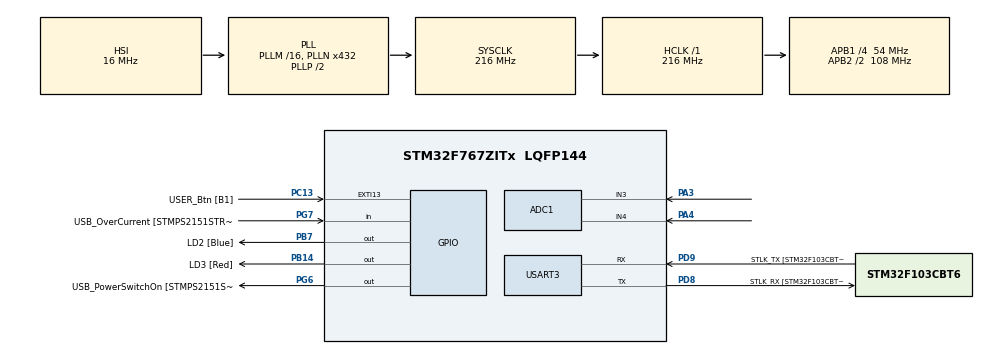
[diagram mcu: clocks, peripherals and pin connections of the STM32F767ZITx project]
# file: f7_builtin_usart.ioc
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ADC1.Channel-0\#ChannelRegularConversion=ADC_CHANNEL_3
ADC1.Channel-1\#ChannelRegularConversion=ADC_CHANNEL_4
ADC1.ClockPrescaler=ADC_CLOCK_SYNC_PCLK_DIV8
ADC1.ContinuousConvMode=ENABLE
ADC1.DMAContinuousRequests=ENABLE
ADC1.NbrOfConversion=2
ADC1.NbrOfConversionFlag=1
ADC1.Rank-0\#ChannelRegularConversion=1
ADC1.Rank-1\#ChannelRegularConversion=2
ADC1.SamplingTime-0\#ChannelRegularConversion=ADC_SAMPLETIME_480CYCLES
ADC1.SamplingTime-1\#ChannelRegularConversion=ADC_SAMPLETIME_480CYCLES
ADC1.ScanConvMode=ENABLE
ADC1.master=1
Dma.ADC1.0.Direction=DMA_PERIPH_TO_MEMORY
Dma.ADC1.0.FIFOMode=DMA_FIFOMODE_DISABLE
Dma.ADC1.0.Instance=DMA2_Stream0
Dma.ADC1.0.MemDataAlignment=DMA_MDATAALIGN_HALFWORD
Dma.ADC1.0.MemInc=DMA_MINC_ENABLE
Dma.ADC1.0.Mode=DMA_CIRCULAR
Dma.ADC1.0.PeriphDataAlignment=DMA_PDATAALIGN_HALFWORD
Dma.ADC1.0.PeriphInc=DMA_PINC_DISABLE
Dma.ADC1.0.Priority=DMA_PRIORITY_LOW
Dma.Request0=ADC1
Mcu.Family=STM32F7
Mcu.Name=STM32F767ZITx
Mcu.Package=LQFP144
NVIC.DMA2_Stream0_IRQn=true\:0\:0\:false\:false\:true\:false
NVIC.PriorityGroup=NVIC_PRIORITYGROUP_4
NVIC.USART3_IRQn=true\:0\:0\:false\:false\:true\:true
PA1.GPIO_Label=RMII_REF_CLK [LAN8742A-CZ-TR_REFCLK0]
PA1.Signal=ETH_REF_CLK
PA10.GPIO_Label=USB_ID
PA10.Signal=USB_OTG_FS_ID
PA11.GPIO_Label=USB_DM
PA11.Signal=USB_OTG_FS_DM
PA12.GPIO_Label=USB_DP
PA12.Signal=USB_OTG_FS_DP
PA13.GPIO_Label=TMS
PA13.Signal=SYS_JTMS-SWDIO
PA14.GPIO_Label=TCK
PA14.Signal=SYS_JTCK-SWCLK
PA2.GPIO_Label=RMII_MDIO [LAN8742A-CZ-TR_MDIO]
PA2.Signal=ETH_MDIO
PA3.Signal=ADCx_IN3
PA4.Signal=ADCx_IN4
PA7.GPIO_Label=RMII_CRS_DV [LAN8742A-CZ-TR_CRS_DV]
PA7.Signal=ETH_CRS_DV
PA8.GPIO_Label=USB_SOF [TP1]
PA8.Signal=USB_OTG_FS_SOF
PA9.GPIO_Label=USB_VBUS
PA9.Signal=USB_OTG_FS_VBUS
PB13.GPIO_Label=RMII_TXD1 [LAN8742A-CZ-TR_TXD1]
PB13.Signal=ETH_TXD1
PB14.GPIO_Label=LD3 [Red]
PB14.Signal=GPIO_Output
PB3.GPIO_Label=SW0
PB3.Signal=SYS_JTDO-SWO
PB7.GPIO_Label=LD2 [Blue]
PB7.Signal=GPIO_Output
PC1.GPIO_Label=RMII_MDC [LAN8742A-CZ-TR_MDC]
PC1.Signal=ETH_MDC
PC13.GPIO_Label=USER_Btn [B1]
PC13.Signal=GPXTI13
PC14/OSC32_IN.Signal=RCC_OSC32_IN
PC15/OSC32_OUT.Signal=RCC_OSC32_OUT
PC4.GPIO_Label=RMII_RXD0 [LAN8742A-CZ-TR_RXD0]
PC4.Signal=ETH_RXD0
PC5.GPIO_Label=RMII_RXD1 [LAN8742A-CZ-TR_RXD1]
PC5.Signal=ETH_RXD1
PD8.GPIO_Label=STLK_RX [STM32F103CBT6_PA3]
PD8.Mode=Asynchronous
PD8.Signal=USART3_TX
PD9.GPIO_Label=STLK_TX [STM32F103CBT6_PA2]
PD9.Mode=Asynchronous
PD9.Signal=USART3_RX
PG11.GPIO_Label=RMII_TX_EN [LAN8742A-CZ-TR_TXEN]
PG11.Signal=ETH_TX_EN
PG13.GPIO_Label=RMII_TXD0 [LAN8742A-CZ-TR_TXD0]
PG13.Signal=ETH_TXD0
PG6.GPIO_Label=USB_PowerSwitchOn [STMPS2151STR_EN]
PG6.Signal=GPIO_Output
PG7.GPIO_Label=USB_OverCurrent [STMPS2151STR_FAULT]
PG7.Signal=GPIO_Input
PH0/OSC_IN.GPIO_Label=MCO [STM32F103CBT6_PA8]
PH0/OSC_IN.Signal=RCC_OSC_IN
PH1/OSC_OUT.Signal=RCC_OSC_OUT
ProjectManager.HeapSize=0x200
ProjectManager.StackSize=0x400
ProjectManager.TargetToolchain=SW4STM32
RCC.48MHZClocksFreq_Value=24000000
RCC.AHBFreq_Value=216000000
RCC.APB1CLKDivider=RCC_HCLK_DIV4
RCC.APB1Freq_Value=54000000
RCC.APB1TimFreq_Value=108000000
RCC.APB2CLKDivider=RCC_HCLK_DIV2
RCC.APB2Freq_Value=108000000
RCC.APB2TimFreq_Value=216000000
RCC.CortexFreq_Value=216000000
RCC.HCLKFreq_Value=216000000
RCC.HSE_VALUE=16000000
RCC.HSI_VALUE=16000000
RCC.LSE_VALUE=32768
RCC.PLLMUL=RCC_PLL_MUL9
RCC.PLLN=432
RCC.PRESCALERUSB=RCC_USBCLKSOURCE_PLL_DIV1_5
RCC.SYSCLKFreq_VALUE=216000000
RCC.SYSCLKSource=RCC_SYSCLKSOURCE_PLLCLK
RCC.SYSCLKSourceVirtual=RCC_SYSCLKSOURCE_PLLCLK
RCC.USBFreq_Value=216000000
RCC.VCOOutputFreq_Value=432000000
SH.ADCx_IN3.0=ADC1_IN3,IN3
SH.ADCx_IN4.0=ADC1_IN4,IN4
USART3.VirtualMode-Asynchronous=VM_ASYNC
USART3.WordLength=WORDLENGTH_8B
board=NUCLEO-F767ZI

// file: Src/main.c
/**
  ******************************************************************************
  * File Name          : main.c
  * Description        : Main program body
  ******************************************************************************
  ** This notice applies to any and all portions of this file
  * that are not between comment pairs USER CODE BEGIN and
  * USER CODE END. Other portions of this file, whether
  * inserted by the user or by software development tools
  * are owned by their respective copyright owners.
  *
  * COPYRIGHT(c) 2017 STMicroelectronics
  *
  * Redistribution and use in source and binary forms, with or without modification,
  * are permitted provided that the following conditions are met:
  *   1. Redistributions of source code must retain the above copyright notice,
  *      this list of conditions and the following disclaimer.
  *   2. Redistributions in binary form must reproduce the above copyright notice,
  *      this list of conditions and the following disclaimer in the documentation
  *      and/or other materials provided with the distribution.
  *   3. Neither the name of STMicroelectronics nor the names of its contributors
  *      may be used to endorse or promote products derived from this software
  *      without specific prior written permission.
  *
  * THIS SOFTWARE IS PROVIDED BY THE COPYRIGHT HOLDERS AND CONTRIBUTORS "AS IS"
  * AND ANY EXPRESS OR IMPLIED WARRANTIES, INCLUDING, BUT NOT LIMITED TO, THE
  * IMPLIED WARRANTIES OF MERCHANTABILITY AND FITNESS FOR A PARTICULAR PURPOSE ARE
  * DISCLAIMED. IN NO EVENT SHALL THE COPYRIGHT HOLDER OR CONTRIBUTORS BE LIABLE
  * FOR ANY DIRECT, INDIRECT, INCIDENTAL, SPECIAL, EXEMPLARY, OR CONSEQUENTIAL
  * DAMAGES (INCLUDING, BUT NOT LIMITED TO, PROCUREMENT OF SUBSTITUTE GOODS OR
  * SERVICES; LOSS OF USE, DATA, OR PROFITS; OR BUSINESS INTERRUPTION) HOWEVER
  * CAUSED AND ON ANY THEORY OF LIABILITY, WHETHER IN CONTRACT, STRICT LIABILITY,
  * OR TORT (INCLUDING NEGLIGENCE OR OTHERWISE) ARISING IN ANY WAY OUT OF THE USE
  * OF THIS SOFTWARE, EVEN IF ADVISED OF THE POSSIBILITY OF SUCH DAMAGE.
  *
  ******************************************************************************
  */

#include "main.h"
#include "stm32f7xx_hal.h"

/* USER CODE BEGIN Includes */
#include "crc.h"
/* USER CODE END Includes */

ADC_HandleTypeDef hadc1;
DMA_HandleTypeDef hdma_adc1;

UART_HandleTypeDef huart3;

/* USER CODE BEGIN PV */
/* Private variables ---------------------------------------------------------*/
uint8_t RX_cmd[10], TX_cmd[10], temp = 1;
uint16_t adc_data[2];
/* USER CODE END PV */

void SystemClock_Config(void);
static void MX_GPIO_Init(void);
static void MX_DMA_Init(void);
static void MX_USART3_UART_Init(void);
static void MX_ADC1_Init(void);

/* USER CODE BEGIN PFP */
/* Private function prototypes -----------------------------------------------*/
void HAL_UART_RxCpltCallback(UART_HandleTypeDef *huart) {
	uint16_t crc = 0, read_crc = 0;
	if (huart == &huart3) {
		switch (temp) {

//		switch (RX_cmd[0]) {
		case 1: //DebugSteeringSystem
			TX_cmd[0] = 1;
			TX_cmd[1] = (uint8_t) (adc_data[0] >> 8);
			TX_cmd[2] = (uint8_t) (adc_data[0]);
			TX_cmd[3] = (uint8_t) (adc_data[1] >> 8);
			TX_cmd[4] = (uint8_t) (adc_data[1]);
			crc = crcFast(TX_cmd, 5);
			TX_cmd[5] = (uint8_t) (crc >> 8);
			TX_cmd[6] = (uint8_t) (crc);
			HAL_UART_Transmit_IT(&huart3, TX_cmd, 7);
			break;
		case 2: //DebugSpeed
			TX_cmd[0] = 2;
			TX_cmd[1] = (uint8_t) (adc_data[0] >> 8);
			TX_cmd[2] = (uint8_t) (adc_data[0]);
			TX_cmd[3] = (uint8_t) (adc_data[1] >> 8);
			TX_cmd[4] = (uint8_t) (adc_data[1]);
			crc = crcFast(TX_cmd, 5);
			TX_cmd[5] = (uint8_t) (crc >> 8);
			TX_cmd[6] = (uint8_t) (crc);
			HAL_UART_Transmit_IT(&huart3, TX_cmd, 7);
			break;
		case 3: //DebugEncodersBrakesIndicators
			TX_cmd[0] = 3;
			TX_cmd[1] = (uint8_t) (adc_data[0] >> 8);
			TX_cmd[2] = (uint8_t) (adc_data[0]);
			TX_cmd[3] = (uint8_t) (adc_data[1] >> 8);
			TX_cmd[4] = (uint8_t) (adc_data[1]);
			TX_cmd[5] = (uint8_t) (adc_data[0] & 0b00000011);
			crc = crcFast(TX_cmd, 6);
			TX_cmd[6] = (uint8_t) (crc >> 8);
			TX_cmd[7] = (uint8_t) (crc);
			HAL_UART_Transmit_IT(&huart3, TX_cmd, 8);
			break;
		case 4:
			// receive control from ROS
			// CRC check, if data not valid reject
			read_crc = (RX_cmd[8] << 8) + RX_cmd[9];
			if (crcFast(RX_cmd, 9) == read_crc) {
				HAL_GPIO_WritePin(LD2_GPIO_Port, LD2_Pin, GPIO_PIN_SET);
//				steering_wheel = RX_cmd[1] + (RX_cmd[2] << 8);
//				speed = RX_cmd[3] + (RX_cmd[4] << 8);
//				brake_value = RX_cmd[5] + (RX_cmd[6] << 8);
//				gas_cut_off = RX_cmd[7] >> 0;
//				dir = RX_cmd[7] >> 1;
			} else
				HAL_GPIO_WritePin(LD2_GPIO_Port, LD2_Pin, GPIO_PIN_RESET);
			break;
		default:
			break;
		}
//		HAL_UART_Receive_IT(&huart3, RX_cmd, 10);
		HAL_UART_Receive_IT(&huart3, &temp, 1);

	}
}

/* USER CODE END PFP */

int main(void)
{

  /* MCU Configuration----------------------------------------------------------*/

  /* Reset of all peripherals, Initializes the Flash interface and the Systick. */
  HAL_Init();

  /* Configure the system clock */
  SystemClock_Config();

  /* Initialize all configured peripherals */
  MX_GPIO_Init();
  MX_DMA_Init();
  MX_USART3_UART_Init();
  MX_ADC1_Init();

  /* USER CODE BEGIN 2 */
	crcInit();

	HAL_ADC_Start_DMA(&hadc1, (uint32_t*) adc_data, 2);
//	HAL_UART_Receive_IT(&huart1, RX_cmd, 10);
	HAL_UART_Receive_IT(&huart3, &temp, 1);

  /* USER CODE END 2 */

  /* Infinite loop */
	while (1) {

	}

}

/** System Clock Configuration
*/
void SystemClock_Config(void)
{

  RCC_OscInitTypeDef RCC_OscInitStruct;
  RCC_ClkInitTypeDef RCC_ClkInitStruct;
  RCC_PeriphCLKInitTypeDef PeriphClkInitStruct;

    /**Configure the main internal regulator output voltage
    */
  __HAL_RCC_PWR_CLK_ENABLE();

  __HAL_PWR_VOLTAGESCALING_CONFIG(PWR_REGULATOR_VOLTAGE_SCALE1);

    /**Initializes the CPU, AHB and APB busses clocks
    */
  RCC_OscInitStruct.OscillatorType = RCC_OSCILLATORTYPE_HSI;
  RCC_OscInitStruct.HSIState = RCC_HSI_ON;
  RCC_OscInitStruct.HSICalibrationValue = 16;
  RCC_OscInitStruct.PLL.PLLState = RCC_PLL_ON;
  RCC_OscInitStruct.PLL.PLLSource = RCC_PLLSOURCE_HSI;
  RCC_OscInitStruct.PLL.PLLM = 16;
  RCC_OscInitStruct.PLL.PLLN = 432;
  RCC_OscInitStruct.PLL.PLLP = RCC_PLLP_DIV2;
  RCC_OscInitStruct.PLL.PLLQ = 2;
  if (HAL_RCC_OscConfig(&RCC_OscInitStruct) != HAL_OK)
  {
    _Error_Handler(__FILE__, __LINE__);
  }

    /**Activate the Over-Drive mode
    */
  if (HAL_PWREx_EnableOverDrive() != HAL_OK)
  {
    _Error_Handler(__FILE__, __LINE__);
  }

    /**Initializes the CPU, AHB and APB busses clocks
    */
  RCC_ClkInitStruct.ClockType = RCC_CLOCKTYPE_HCLK|RCC_CLOCKTYPE_SYSCLK
                              |RCC_CLOCKTYPE_PCLK1|RCC_CLOCKTYPE_PCLK2;
  RCC_ClkInitStruct.SYSCLKSource = RCC_SYSCLKSOURCE_PLLCLK;
  RCC_ClkInitStruct.AHBCLKDivider = RCC_SYSCLK_DIV1;
  RCC_ClkInitStruct.APB1CLKDivider = RCC_HCLK_DIV4;
  RCC_ClkInitStruct.APB2CLKDivider = RCC_HCLK_DIV2;

  if (HAL_RCC_ClockConfig(&RCC_ClkInitStruct, FLASH_LATENCY_7) != HAL_OK)
  {
    _Error_Handler(__FILE__, __LINE__);
  }

  PeriphClkInitStruct.PeriphClockSelection = RCC_PERIPHCLK_USART3;
  PeriphClkInitStruct.Usart3ClockSelection = RCC_USART3CLKSOURCE_PCLK1;
  if (HAL_RCCEx_PeriphCLKConfig(&PeriphClkInitStruct) != HAL_OK)
  {
    _Error_Handler(__FILE__, __LINE__);
  }

    /**Configure the Systick interrupt time
    */
  HAL_SYSTICK_Config(HAL_RCC_GetHCLKFreq()/1000);

    /**Configure the Systick
    */
  HAL_SYSTICK_CLKSourceConfig(SYSTICK_CLKSOURCE_HCLK);

  /* SysTick_IRQn interrupt configuration */
  HAL_NVIC_SetPriority(SysTick_IRQn, 0, 0);
}

/* ADC1 init function */
static void MX_ADC1_Init(void)
{

  ADC_ChannelConfTypeDef sConfig;

    /**Configure the global features of the ADC (Clock, Resolution, Data Alignment and number of conversion)
    */
  hadc1.Instance = ADC1;
  hadc1.Init.ClockPrescaler = ADC_CLOCK_SYNC_PCLK_DIV8;
  hadc1.Init.Resolution = ADC_RESOLUTION_12B;
  hadc1.Init.ScanConvMode = ENABLE;
  hadc1.Init.ContinuousConvMode = ENABLE;
  hadc1.Init.DiscontinuousConvMode = DISABLE;
  hadc1.Init.ExternalTrigConvEdge = ADC_EXTERNALTRIGCONVEDGE_NONE;
  hadc1.Init.ExternalTrigConv = ADC_SOFTWARE_START;
  hadc1.Init.DataAlign = ADC_DATAALIGN_RIGHT;
  hadc1.Init.NbrOfConversion = 2;
  hadc1.Init.DMAContinuousRequests = ENABLE;
  hadc1.Init.EOCSelection = ADC_EOC_SINGLE_CONV;
  if (HAL_ADC_Init(&hadc1) != HAL_OK)
  {
    _Error_Handler(__FILE__, __LINE__);
  }

    /**Configure for the selected ADC regular channel its corresponding rank in the sequencer and its sample time.
    */
  sConfig.Channel = ADC_CHANNEL_3;
  sConfig.Rank = 1;
  sConfig.SamplingTime = ADC_SAMPLETIME_480CYCLES;
  if (HAL_ADC_ConfigChannel(&hadc1, &sConfig) != HAL_OK)
  {
    _Error_Handler(__FILE__, __LINE__);
  }

    /**Configure for the selected ADC regular channel its corresponding rank in the sequencer and its sample time.
    */
  sConfig.Channel = ADC_CHANNEL_4;
  sConfig.Rank = 2;
  if (HAL_ADC_ConfigChannel(&hadc1, &sConfig) != HAL_OK)
  {
    _Error_Handler(__FILE__, __LINE__);
  }

}

/* USART3 init function */
static void MX_USART3_UART_Init(void)
{

  huart3.Instance = USART3;
  huart3.Init.BaudRate = 115200;
  huart3.Init.WordLength = UART_WORDLENGTH_8B;
  huart3.Init.StopBits = UART_STOPBITS_1;
  huart3.Init.Parity = UART_PARITY_NONE;
  huart3.Init.Mode = UART_MODE_TX_RX;
  huart3.Init.HwFlowCtl = UART_HWCONTROL_NONE;
  huart3.Init.OverSampling = UART_OVERSAMPLING_16;
  huart3.Init.OneBitSampling = UART_ONE_BIT_SAMPLE_DISABLE;
  huart3.AdvancedInit.AdvFeatureInit = UART_ADVFEATURE_NO_INIT;
  if (HAL_UART_Init(&huart3) != HAL_OK)
  {
    _Error_Handler(__FILE__, __LINE__);
  }

}

static void MX_DMA_Init(void)
{
  /* DMA controller clock enable */
  __HAL_RCC_DMA2_CLK_ENABLE();

  /* DMA interrupt init */
  /* DMA2_Stream0_IRQn interrupt configuration */
  HAL_NVIC_SetPriority(DMA2_Stream0_IRQn, 0, 0);
  HAL_NVIC_EnableIRQ(DMA2_Stream0_IRQn);

}

/** Configure pins as
        * Analog
        * Input
        * Output
        * EVENT_OUT
        * EXTI
     PC1   ------> ETH_MDC
     PA1   ------> ETH_REF_CLK
     PA2   ------> ETH_MDIO
     PA7   ------> ETH_CRS_DV
     PC4   ------> ETH_RXD0
     PC5   ------> ETH_RXD1
     PB13   ------> ETH_TXD1
     PA8   ------> USB_OTG_FS_SOF
     PA9   ------> USB_OTG_FS_VBUS
     PA10   ------> USB_OTG_FS_ID
     PA11   ------> USB_OTG_FS_DM
     PA12   ------> USB_OTG_FS_DP
     PG11   ------> ETH_TX_EN
     PG13   ------> ETH_TXD0
*/
static void MX_GPIO_Init(void)
{

  GPIO_InitTypeDef GPIO_InitStruct;

  /* GPIO Ports Clock Enable */
  __HAL_RCC_GPIOC_CLK_ENABLE();
  __HAL_RCC_GPIOH_CLK_ENABLE();
  __HAL_RCC_GPIOA_CLK_ENABLE();
  __HAL_RCC_GPIOB_CLK_ENABLE();
  __HAL_RCC_GPIOD_CLK_ENABLE();
  __HAL_RCC_GPIOG_CLK_ENABLE();

  /*Configure GPIO pin Output Level */
  HAL_GPIO_WritePin(GPIOB, LD3_Pin|LD2_Pin, GPIO_PIN_RESET);

  /*Configure GPIO pin Output Level */
  HAL_GPIO_WritePin(USB_PowerSwitchOn_GPIO_Port, USB_PowerSwitchOn_Pin, GPIO_PIN_RESET);

  /*Configure GPIO pin : USER_Btn_Pin */
  GPIO_InitStruct.Pin = USER_Btn_Pin;
  GPIO_InitStruct.Mode = GPIO_MODE_IT_RISING;
  GPIO_InitStruct.Pull = GPIO_NOPULL;
  HAL_GPIO_Init(USER_Btn_GPIO_Port, &GPIO_InitStruct);

  /*Configure GPIO pins : RMII_MDC_Pin RMII_RXD0_Pin RMII_RXD1_Pin */
  GPIO_InitStruct.Pin = RMII_MDC_Pin|RMII_RXD0_Pin|RMII_RXD1_Pin;
  GPIO_InitStruct.Mode = GPIO_MODE_AF_PP;
  GPIO_InitStruct.Pull = GPIO_NOPULL;
  GPIO_InitStruct.Speed = GPIO_SPEED_FREQ_VERY_HIGH;
  GPIO_InitStruct.Alternate = GPIO_AF11_ETH;
  HAL_GPIO_Init(GPIOC, &GPIO_InitStruct);

  /*Configure GPIO pins : RMII_REF_CLK_Pin RMII_MDIO_Pin RMII_CRS_DV_Pin */
  GPIO_InitStruct.Pin = RMII_REF_CLK_Pin|RMII_MDIO_Pin|RMII_CRS_DV_Pin;
  GPIO_InitStruct.Mode = GPIO_MODE_AF_PP;
  GPIO_InitStruct.Pull = GPIO_NOPULL;
  GPIO_InitStruct.Speed = GPIO_SPEED_FREQ_VERY_HIGH;
  GPIO_InitStruct.Alternate = GPIO_AF11_ETH;
  HAL_GPIO_Init(GPIOA, &GPIO_InitStruct);

  /*Configure GPIO pin : RMII_TXD1_Pin */
  GPIO_InitStruct.Pin = RMII_TXD1_Pin;
  GPIO_InitStruct.Mode = GPIO_MODE_AF_PP;
  GPIO_InitStruct.Pull = GPIO_NOPULL;
  GPIO_InitStruct.Speed = GPIO_SPEED_FREQ_VERY_HIGH;
  GPIO_InitStruct.Alternate = GPIO_AF11_ETH;
  HAL_GPIO_Init(RMII_TXD1_GPIO_Port, &GPIO_InitStruct);

  /*Configure GPIO pins : LD3_Pin LD2_Pin */
  GPIO_InitStruct.Pin = LD3_Pin|LD2_Pin;
  GPIO_InitStruct.Mode = GPIO_MODE_OUTPUT_PP;
  GPIO_InitStruct.Pull = GPIO_NOPULL;
  GPIO_InitStruct.Speed = GPIO_SPEED_FREQ_LOW;
  HAL_GPIO_Init(GPIOB, &GPIO_InitStruct);

  /*Configure GPIO pin : USB_PowerSwitchOn_Pin */
  GPIO_InitStruct.Pin = USB_PowerSwitchOn_Pin;
  GPIO_InitStruct.Mode = GPIO_MODE_OUTPUT_PP;
  GPIO_InitStruct.Pull = GPIO_NOPULL;
  GPIO_InitStruct.Speed = GPIO_SPEED_FREQ_LOW;
  HAL_GPIO_Init(USB_PowerSwitchOn_GPIO_Port, &GPIO_InitStruct);

  /*Configure GPIO pin : USB_OverCurrent_Pin */
  GPIO_InitStruct.Pin = USB_OverCurrent_Pin;
  GPIO_InitStruct.Mode = GPIO_MODE_INPUT;
  GPIO_InitStruct.Pull = GPIO_NOPULL;
  HAL_GPIO_Init(USB_OverCurrent_GPIO_Port, &GPIO_InitStruct);

  /*Configure GPIO pins : USB_SOF_Pin USB_ID_Pin USB_DM_Pin USB_DP_Pin */
  GPIO_InitStruct.Pin = USB_SOF_Pin|USB_ID_Pin|USB_DM_Pin|USB_DP_Pin;
  GPIO_InitStruct.Mode = GPIO_MODE_AF_PP;
  GPIO_InitStruct.Pull = GPIO_NOPULL;
  GPIO_InitStruct.Speed = GPIO_SPEED_FREQ_VERY_HIGH;
  GPIO_InitStruct.Alternate = GPIO_AF10_OTG_FS;
  HAL_GPIO_Init(GPIOA, &GPIO_InitStruct);

  /*Configure GPIO pin : USB_VBUS_Pin */
  GPIO_InitStruct.Pin = USB_VBUS_Pin;
  GPIO_InitStruct.Mode = GPIO_MODE_INPUT;
  GPIO_InitStruct.Pull = GPIO_NOPULL;
  HAL_GPIO_Init(USB_VBUS_GPIO_Port, &GPIO_InitStruct);

  /*Configure GPIO pins : RMII_TX_EN_Pin RMII_TXD0_Pin */
  GPIO_InitStruct.Pin = RMII_TX_EN_Pin|RMII_TXD0_Pin;
  GPIO_InitStruct.Mode = GPIO_MODE_AF_PP;
  GPIO_InitStruct.Pull = GPIO_NOPULL;
  GPIO_InitStruct.Speed = GPIO_SPEED_FREQ_VERY_HIGH;
  GPIO_InitStruct.Alternate = GPIO_AF11_ETH;
  HAL_GPIO_Init(GPIOG, &GPIO_InitStruct);

}

void _Error_Handler(char * file, int line)
{
	while (1) {
	}
}

/************************ (C) COPYRIGHT STMicroelectronics *****END OF FILE****/
